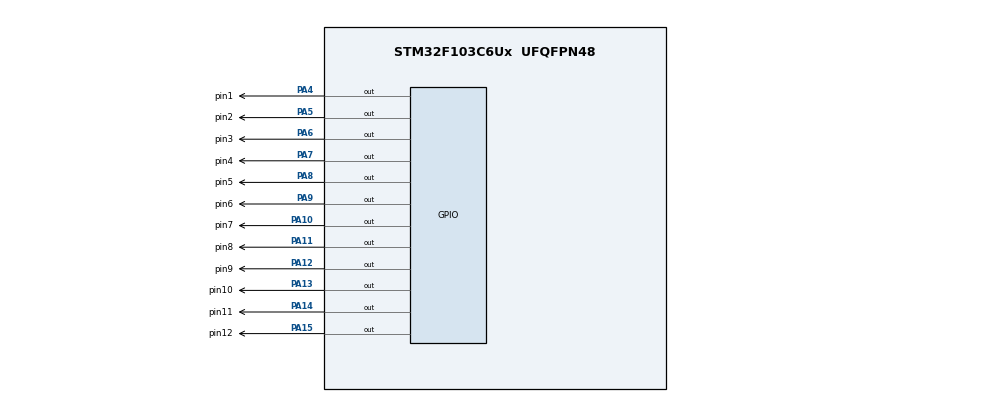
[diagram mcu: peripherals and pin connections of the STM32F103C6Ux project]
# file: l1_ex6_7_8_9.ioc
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Mcu.Family=STM32F1
Mcu.Name=STM32F103C6Ux
Mcu.Package=UFQFPN48
NVIC.PriorityGroup=NVIC_PRIORITYGROUP_4
PA10.GPIO_Label=pin7
PA10.Signal=GPIO_Output
PA11.GPIO_Label=pin8
PA11.Signal=GPIO_Output
PA12.GPIO_Label=pin9
PA12.Signal=GPIO_Output
PA13.GPIO_Label=pin10
PA13.Signal=GPIO_Output
PA14.GPIO_Label=pin11
PA14.Signal=GPIO_Output
PA15.GPIO_Label=pin12
PA15.PinState=GPIO_PIN_SET
PA15.Signal=GPIO_Output
PA4.GPIO_Label=pin1
PA4.PinState=GPIO_PIN_RESET
PA4.Signal=GPIO_Output
PA5.GPIO_Label=pin2
PA5.Signal=GPIO_Output
PA6.GPIO_Label=pin3
PA6.Signal=GPIO_Output
PA7.GPIO_Label=pin4
PA7.Signal=GPIO_Output
PA8.GPIO_Label=pin5
PA8.Signal=GPIO_Output
PA9.GPIO_Label=pin6
PA9.Signal=GPIO_Output
ProjectManager.HeapSize=0x200
ProjectManager.StackSize=0x400
ProjectManager.TargetToolchain=STM32CubeIDE
RCC.APB1Freq_Value=8000000
RCC.APB2Freq_Value=8000000
VP_SYS_VS_ND.Mode=No_Debug
board=custom

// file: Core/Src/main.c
/* USER CODE BEGIN Header */
/**
  ******************************************************************************
  * @file           : main.c
  * @brief          : Main program body
  ******************************************************************************
  * @attention
  *
  * <h2><center>&copy; Copyright (c) 2025 STMicroelectronics.
  * All rights reserved.</center></h2>
  *
  * This software component is licensed by ST under BSD 3-Clause license,
  * the "License"; You may not use this file except in compliance with the
  * License. You may obtain a copy of the License at:
  *                        opensource.org/licenses/BSD-3-Clause
  *
  ******************************************************************************
  */
/* USER CODE END Header */
#include "main.h"

void SystemClock_Config(void);
static void MX_GPIO_Init(void);

int main(void)
{

  /* MCU Configuration--------------------------------------------------------*/

  /* Reset of all peripherals, Initializes the Flash interface and the Systick. */
  HAL_Init();

  /* Configure the system clock */
  SystemClock_Config();

  /* Initialize all configured peripherals */
  MX_GPIO_Init();

  /* Infinite loop */
  /* USER CODE BEGIN WHILE */

  // all LEDs active HIGH
  // LED_1 at HIG level and the other at LOW level initially

  GPIO_TypeDef* pin_port[12] ={pin12_GPIO_Port,pin1_GPIO_Port,pin2_GPIO_Port,pin3_GPIO_Port,
		  pin4_GPIO_Port,pin5_GPIO_Port,pin6_GPIO_Port,pin7_GPIO_Port,pin8_GPIO_Port,
		  pin9_GPIO_Port,pin10_GPIO_Port,pin11_GPIO_Port};

  int pin[12] = {pin12_Pin,pin1_Pin,pin2_Pin,pin3_Pin,pin4_Pin,pin5_Pin,pin6_Pin,
		  pin7_Pin,pin8_Pin,pin9_Pin,pin10_Pin,pin11_Pin};

  void on(int p)
  {
	  HAL_GPIO_WritePin(pin_port[p], pin[p], SET);
  }
  void off(int p)
  {
	  HAL_GPIO_WritePin(pin_port[p], pin[p], RESET);
  }

//  /*  BEGIN EX7  */
//  void clearALLClock()
//  {
//	  for (int i=0 ;i<11;i++)
//	  {
//		  off(i);
//	  }
//  }
//  /*  END EX7  */

//  /*  BEGIN EX8  */
//  void setNumberOnClock(int num)
//  {
//	  HAL_GPIO_WritePin(pin_port[num], pin[num], SET);
//  }
//  /*  END EX8  */

//  /* BEGIN EX9  */
//  void clearNumberOnClock(int num)
//  {
//	  HAL_GPIO_WritePin(pin_port[num], pin[num], RESET);
//  }
//  /*  END EX9  */

  int count = 1;
  int ctime = 100;

  while (1)
  {
	  if(ctime<=0)
	  {
		  ctime=100;
		  on(count);
		  if(count==0) off(11);
		  else off(count-1);
		  if(count<11) count++;
		  else count=0;
	  }
	  ctime--;
	  HAL_Delay(10);
    /* USER CODE END WHILE */

  }
}

void SystemClock_Config(void)
{
  RCC_OscInitTypeDef RCC_OscInitStruct = {0};
  RCC_ClkInitTypeDef RCC_ClkInitStruct = {0};

  /** Initializes the RCC Oscillators according to the specified parameters
  * in the RCC_OscInitTypeDef structure.
  */
  RCC_OscInitStruct.OscillatorType = RCC_OSCILLATORTYPE_HSI;
  RCC_OscInitStruct.HSIState = RCC_HSI_ON;
  RCC_OscInitStruct.HSICalibrationValue = RCC_HSICALIBRATION_DEFAULT;
  RCC_OscInitStruct.PLL.PLLState = RCC_PLL_NONE;
  if (HAL_RCC_OscConfig(&RCC_OscInitStruct) != HAL_OK)
  {
    Error_Handler();
  }
  /** Initializes the CPU, AHB and APB buses clocks
  */
  RCC_ClkInitStruct.ClockType = RCC_CLOCKTYPE_HCLK|RCC_CLOCKTYPE_SYSCLK
                              |RCC_CLOCKTYPE_PCLK1|RCC_CLOCKTYPE_PCLK2;
  RCC_ClkInitStruct.SYSCLKSource = RCC_SYSCLKSOURCE_HSI;
  RCC_ClkInitStruct.AHBCLKDivider = RCC_SYSCLK_DIV1;
  RCC_ClkInitStruct.APB1CLKDivider = RCC_HCLK_DIV1;
  RCC_ClkInitStruct.APB2CLKDivider = RCC_HCLK_DIV1;

  if (HAL_RCC_ClockConfig(&RCC_ClkInitStruct, FLASH_LATENCY_0) != HAL_OK)
  {
    Error_Handler();
  }
}

static void MX_GPIO_Init(void)
{
  GPIO_InitTypeDef GPIO_InitStruct = {0};

  /* GPIO Ports Clock Enable */
  __HAL_RCC_GPIOA_CLK_ENABLE();

  /*Configure GPIO pin Output Level */
  HAL_GPIO_WritePin(GPIOA, pin1_Pin|pin2_Pin|pin3_Pin|pin4_Pin
                          |pin5_Pin|pin6_Pin|pin7_Pin|pin8_Pin
                          |pin9_Pin|pin10_Pin|pin11_Pin, GPIO_PIN_RESET);

  /*Configure GPIO pin Output Level */
  HAL_GPIO_WritePin(pin12_GPIO_Port, pin12_Pin, GPIO_PIN_SET);

  /*Configure GPIO pins : pin1_Pin pin2_Pin pin3_Pin pin4_Pin
                           pin5_Pin pin6_Pin pin7_Pin pin8_Pin
                           pin9_Pin pin10_Pin pin11_Pin pin12_Pin */
  GPIO_InitStruct.Pin = pin1_Pin|pin2_Pin|pin3_Pin|pin4_Pin
                          |pin5_Pin|pin6_Pin|pin7_Pin|pin8_Pin
                          |pin9_Pin|pin10_Pin|pin11_Pin|pin12_Pin;
  GPIO_InitStruct.Mode = GPIO_MODE_OUTPUT_PP;
  GPIO_InitStruct.Pull = GPIO_NOPULL;
  GPIO_InitStruct.Speed = GPIO_SPEED_FREQ_LOW;
  HAL_GPIO_Init(GPIOA, &GPIO_InitStruct);

}

void Error_Handler(void)
{
  __disable_irq();
  while (1)
  {
  }
}

/************************ (C) COPYRIGHT STMicroelectronics *****END OF FILE****/
